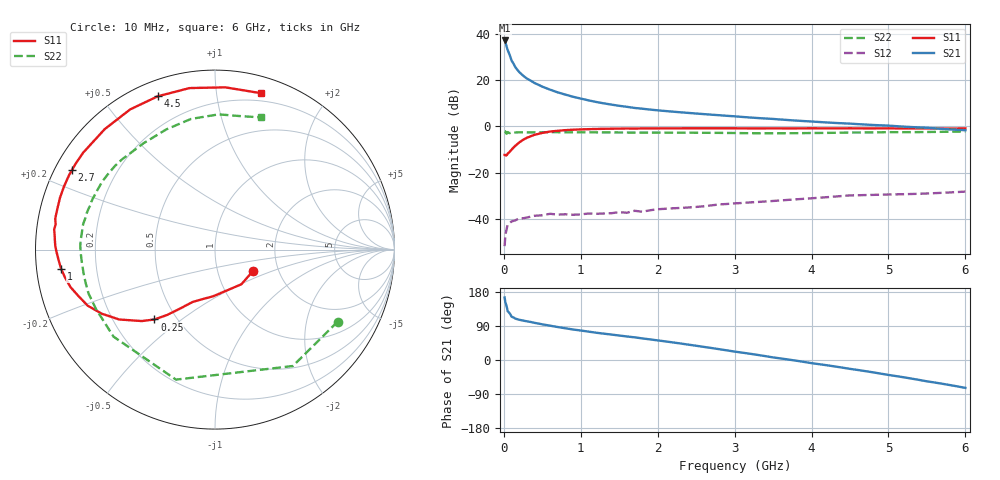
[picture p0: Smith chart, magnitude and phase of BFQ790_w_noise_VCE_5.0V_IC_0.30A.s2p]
! Infineon Technologies  Discrete & RF Semiconductors
! BFQ790
! VCE =  5.0 V,  IC = 0.30 A
! Common Emitter S-Parameters:  May 2015
# GHz  S  MA  R  50
!  f  S11  S21  S12  S22
! GHz  MAG  ANG  MAG  ANG  MAG  ANG  MAG  ANG
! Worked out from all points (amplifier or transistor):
!   77 points, 10 MHz to 6 GHz, reference 50 ohm
!   highest |S21| = 37.1 dB at 10 MHz (marker M1)
!   |S21| within 3 dB of that: start of sweep to 39.38 MHz
!   unconditionally stable (mu >= 1): 171.4 MHz to end of sweep
!   at 130 MHz: K = 0.89, MSG = 33.8 dB, |S12| = -40.7 dB
!   at 2.2 GHz: K = 1.34, MAG = 17.4 dB, |S12| = -35.3 dB
!   at 6 GHz: K = 1.12, MAG = 11.1 dB, |S12| = -28.1 dB
!   lowest NFmin = 4.10 dB at 1.5 GHz
!   S11 on the Smith chart (normalised r, x): 10 MHz: 1.47, -0.38; 250 MHz: 0.38, -0.40; 1 GHz: 0.07, -0.06; 2.7 GHz: 0.05, +0.26; 4.5 GHz: 0.07, +0.69; 6 GHz: 0.13, +1.33
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0.01  0.2425 -30.0  71.92 165.0  0.0026 56.7  0.7926 -30.4
0.02  0.2426 -52.7  65.76 152.0  0.0045 51.3  0.7803 -56.2
0.05  0.2597 -92.0  44.44 128.5  0.0075 34.9  0.7563 -106.7
0.1  0.3154 -112.8  26.53 114.4  0.0089 22.4  0.7449 -139.4
0.15  0.3834 -120.8  18.94 109.1  0.0094 21.9  0.7411 -153.5
0.2  0.451 -126.2  14.96 106.2  0.0104 26.3  0.7459 -160.9
0.25  0.515 -130.9  12.51 104.0  0.0104 19.8  0.7442 -165.7
0.3  0.5699 -135.7  10.8 102.1  0.0108 16.3  0.744 -169.5
0.4  0.6609 -143.9  8.654 98.0  0.0118 15.1  0.7454 -174.7
0.5  0.7253 -150.5  7.232 94.1  0.0121 12.4  0.7483 -178.4
0.7  0.8054 -161.5  5.444 87.0  0.0125 13.0  0.7506 176.0
0.9  0.8506 -169.6  4.371 80.5  0.0124 13.0  0.7477 172.2
1  0.8637 -172.8  4 77.8  0.0126 11.6  0.7487 170.3
1.1  0.8734 -176.2  3.661 74.9  0.0132 14.7  0.7477 168.7
1.5  0.8974 174.7  2.791 64.6  0.0141 15.4  0.7412 162.9
2.1  0.9084 163.5  2.154 49.1  0.0167 16.9  0.7346 154.1
2.7  0.9117 150.8  1.795 31.6  0.0198 12.1  0.7275 142.5
3.1  0.9086 141.5  1.605 19.4  0.0223 7.0  0.7177 133.4
4.1  0.9102 119.1  1.248 -11.1  0.0289 -6.7  0.7236 109.7
4.5  0.9117 110.5  1.151 -23.4  0.0325 -14.8  0.7402 100.4
5.1  0.9066 96.5  1.015 -42.5  0.0342 -27.0  0.7528 86.4
6  0.9082 73.7  0.83 -73.6  0.0392 -47.8  0.7802 70.8
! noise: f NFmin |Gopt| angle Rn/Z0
0.45  6.78  0.53  143  0.71
0.9  4.78  0.66  170  0.19
1.5  4.1  0.74  -171  0.11
1.8  4.11  0.76  -166  0.14
2.6  4.26  0.78  -150  0.37
3.5  4.69  0.89  -135  0.75
